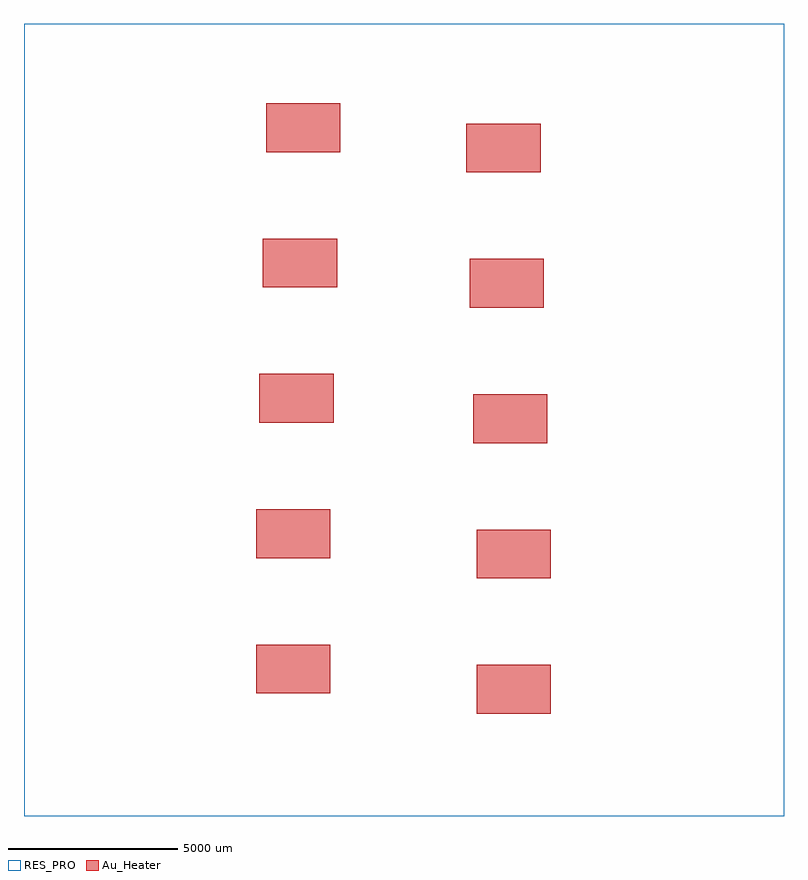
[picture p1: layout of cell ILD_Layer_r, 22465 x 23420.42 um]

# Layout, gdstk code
import gdstk
lib = gdstk.Library(unit=1e-6, precision=1e-09)
def R(c, l, rs):  # rectangles x0, y0, x1, y1
    for r in rs: c.add(gdstk.rectangle(r[:2], r[2:], *l))
Au_Heater = (9, 0)
RES_PRO = (10, 0)

ild_layer_r = lib.new_cell('ILD_Layer_r')
R(ild_layer_r, Au_Heater, [(3205.334,-8723.631,5397.334,-7280.631), (-3310.666,-8124.132,-1118.666,-6681.132), (3205.334,-4723.631,5397.334,-3280.631), (-3310.666,-4124.132,-1118.666,-2681.132), (3105.334,-723.631,5297.334,719.369), (-3210.666,-124.132,-1018.666,1318.868), (3005.334,3276.37,5197.334,4719.37), (-3110.666,3875.869,-918.666,5318.869), (2905.334,7276.37,5097.334,8719.37), (-3010.666,7875.869,-818.666,9318.869)])
R(ild_layer_r, RES_PRO, [(-10171.71,-11752.561,12293.29,11667.855)])

lib.write_gds('ILD_Layer_r.gds')
